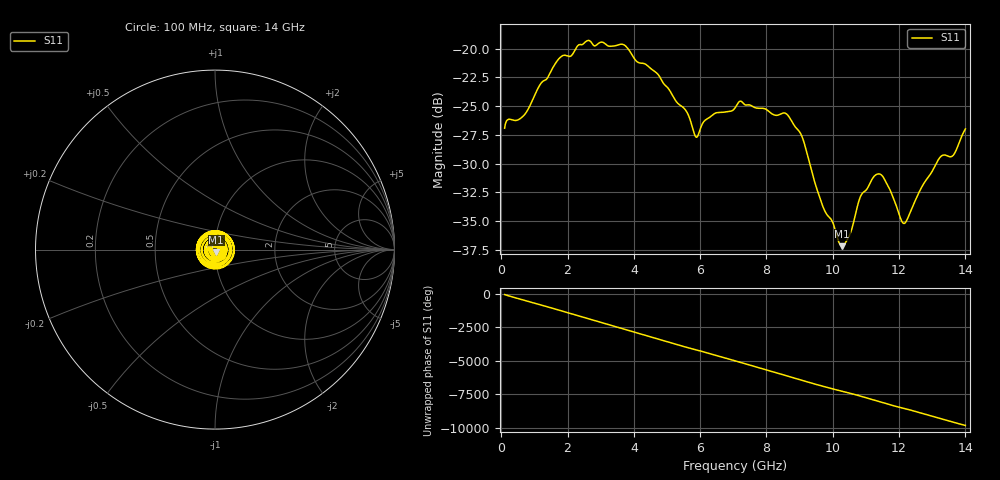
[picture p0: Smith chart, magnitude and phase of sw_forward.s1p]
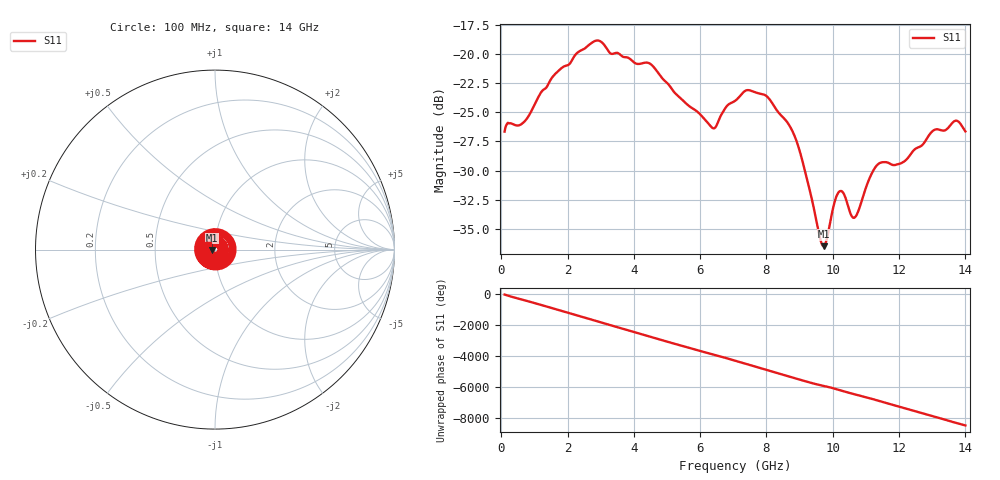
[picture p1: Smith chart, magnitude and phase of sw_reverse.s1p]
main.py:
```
"""
@author: Ziad Hatab (zi.hatab@gmail.com)

Example of using TRL calibration. 
"""

import os

# pip install numpy scikit-rf matplotlib -U
import numpy as np
import skrf as rf   # to load S-parameters from .s2p files
import matplotlib.pyplot as plt # for plotting

import TRL # this should be located in same folder as this script.

# useful functions 
c0 = 299792458   # speed of light in vacuum (m/s)
mag2db = lambda x: 20*np.log10(abs(x))  
db2mag = lambda x: 10**(x/20)           
gamma2ereff = lambda x,f: -(c0/2/np.pi/f*x)**2  # convert gamma to effective relative permittivity
ereff2gamma = lambda x,f: 2*np.pi*f/c0*np.sqrt(-(x-1j*np.finfo(float).eps)) # the eps is to ensure positive square-root
gamma2dbmm  = lambda x: mag2db(np.exp(x.real*1e-3))  # convert losses (real part of gamma) in db/mm

# retrieve the path of this file and modify it to point to the s2p folder 
s2p_path = os.path.dirname(os.path.realpath(__file__)) + '\\s2p\\'

# load uncalibrated S-parameters
thru = rf.Network(s2p_path + 'thru.s2p')       # microstrip with impedance approx 50 ohm
line = rf.Network(s2p_path + 'line_15mm.s2p')  # microstrip with impedance approx 50 ohm
open_A = rf.Network(s2p_path + 'open_A.s1p')
open_B = rf.Network(s2p_path + 'open_B.s1p')

dut = line  # I will update the measurements later with a proper dut.

# switch terms
switch_f = rf.Network(s2p_path + 'sw_forward.s1p')
switch_r = rf.Network(s2p_path + 'sw_reverse.s1p')

f = thru.frequency.f
line_length = 15e-3  # in meters
gamma_est   = ereff2gamma(2.6, f[0])  # use effective relative permittivity as initial guess
reflect_est = 1 # open  standard. 
# Hint: if the reflect is offseted, then you should include an offset by multiplying the estimated reflect by np.exp(-2*gamma_est*offset)

# iterate through frequencies
As = []
Bs = []
ks = []
gammas = []
reflects = []
for thru_S,line_S,reflect_A,reflect_B,GF,GR in zip(thru.s.squeeze(), line.s.squeeze(), open_A.s.squeeze(), open_B.s.squeeze(), switch_f.s.squeeze(), switch_r.s.squeeze()):
    thru_S = TRL.correct_switch(thru_S, GF,GR)
    line_S = TRL.correct_switch(line_S, GF,GR)
    A,B,k,gamma_est,reflect_est = TRL.trl(thru_S, line_S, line_length, gamma_est, reflect_A, reflect_B, reflect_est)
    As.append(A)
    Bs.append(B)
    ks.append(k)
    gammas.append(gamma_est)
    reflects.append(reflect_est)
As = np.array(As)
Bs = np.array(Bs)
ks = np.array(ks)
gammas = np.array(gammas)
reflects = np.array(reflects)

# apply cal (also shift plane and change impedance)
dut_cal_S = []
for dut_S,A,B,k,GF,GR,gamma in zip(dut.s.squeeze(),As,Bs,ks,switch_f.s.squeeze(),switch_r.s.squeeze(),gammas):
    dut_S = TRL.correct_switch(dut_S, GF, GR)
    # A,B,k = TRL.shift_plane(A,B,k,line_length/2,gamma) # shift the reference plane to the middle of the Line standard
    # A,B,k = TRL.change_impedance(A,B,k,50,75)  # change reference impedance from 50 to 75 ohm
    dut_cal_S.append(TRL.apply_cal(dut_S,A,B,k))
dut_cal_S = np.array(dut_cal_S)

# plots
plt.figure()
plt.plot(f*1e-9, mag2db(dut_cal_S[:,0,0]))
plt.xlabel('Frequency (GHz)')
plt.ylabel('S11 (dB)')
plt.title('Calibrated DUT')

plt.figure()
plt.plot(f*1e-9, mag2db(dut_cal_S[:,1,0]))
plt.xlabel('Frequency (GHz)')
plt.ylabel('S21 (dB)')
plt.title('Calibrated DUT')

plt.figure()
plt.plot(f*1e-9, gamma2ereff(gammas, f).real)
plt.xlabel('Frequency (GHz)')
plt.ylabel('Effect relative permittivity')

plt.figure()
plt.plot(f*1e-9, gamma2dbmm(gammas))
plt.xlabel('Frequency (GHz)')
plt.ylabel('Losses (dB/mm)')

plt.figure()
plt.plot(f*1e-9, mag2db(reflects))
plt.xlabel('Frequency (GHz)')
plt.ylabel('S11 (dB)')
plt.title('Calibrated reflect standard')

plt.show()

# EOF
```
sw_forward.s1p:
!Keysight Technologies E5080B MY59100652 A.14.10.03
!Date: Monday  May 23  2022 11:51:32
!Correction: a2/b2 P1
!S1P File: Measurement: :
# Hz S  RI  R 50
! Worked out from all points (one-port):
!   696 points, 100 MHz to 14 GHz, reference 50 ohm
!   lowest |S11| = -37.2 dB at 10.28 GHz (marker M1), VSWR 1.03, Z = 50.6 - j1.27 ohm
!   |S11| at or under -10 dB: start of sweep to end of sweep
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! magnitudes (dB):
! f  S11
! 100 MHz  -26.9
! 2.6 GHz  -19.3
! 3.7 GHz  -19.7
! 4.74 GHz  -22.3
! 5.88 GHz  -27.7
! 7.2 GHz  -24.6
! 8.58 GHz  -25.6
! 9.06 GHz  -27.6
! 9.38 GHz  -30.8
! 10.28 GHz  -37.2
! 11.26 GHz  -31.1
! 11.54 GHz  -31.3
! 12.16 GHz  -35.2
! 14 GHz  -27.0
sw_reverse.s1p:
!Keysight Technologies E5080B MY59100652 A.14.10.03
!Date: Monday  May 23  2022 11:51:32
!Correction: a1/b1 P2
!S1P File: Measurement: :
# Hz S  RI  R 50
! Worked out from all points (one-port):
!   696 points, 100 MHz to 14 GHz, reference 50 ohm
!   lowest |S11| = -36.5 dB at 9.72 GHz (marker M1), VSWR 1.03, Z = 48.5 - j0.171 ohm
!   |S11| at or under -10 dB: start of sweep to end of sweep
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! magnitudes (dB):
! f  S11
! 100 MHz  -26.7
! 2.84 GHz  -18.9
! 4.74 GHz  -21.7
! 6.38 GHz  -26.4
! 7.36 GHz  -23.2
! 8 GHz  -23.6
! 8.82 GHz  -26.8
! 9.38 GHz  -32.6
! 9.72 GHz  -36.5
! 10.2 GHz  -31.8
! 10.66 GHz  -34.0
! 11.38 GHz  -29.4
! 13.68 GHz  -25.7
! 14 GHz  -26.6
